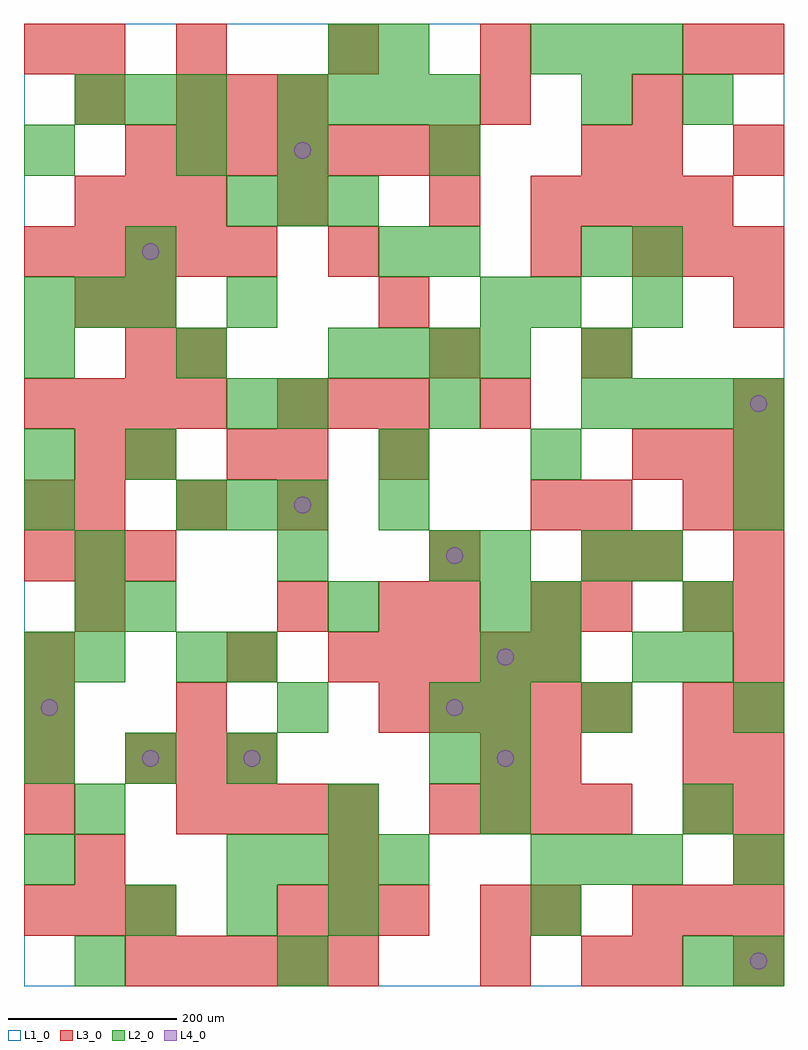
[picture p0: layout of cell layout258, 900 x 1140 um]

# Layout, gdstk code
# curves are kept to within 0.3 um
import gdstk
lib = gdstk.Library(unit=1e-6, precision=1e-09)
def R(c, l, rs):  # rectangles x0, y0, x1, y1
    for r in rs: c.add(gdstk.rectangle(r[:2], r[2:], *l))
def A(c, l, x, y, w, h, nx, ny, dx, dy):  # array of equal rectangles
    R(c, l, [(x+i*dx, y+j*dy, x+i*dx+w, y+j*dy+h) for i in range(nx) for j in range(ny)])
def P(c, l, *ps):  # polygons
    for p in ps: c.add(gdstk.Polygon(p, *l))
L1_0 = (1, 0)
L2_0 = (2, 0)
L3_0 = (3, 0)
L4_0 = (4, 0)

layout258 = lib.new_cell('layout258')
R(layout258, L1_0, [(0,0,900,1140)])
A(layout258, L2_0, 60, 0, 60, 60, 1, 3, 0, 180)
A(layout258, L2_0, 780, 0, 60, 60, 1, 3, 0, 180)
A(layout258, L2_0, 120, 60, 60, 60, 3, 1, 120, 0)
A(layout258, L2_0, 240, 120, 60, 60, 4, 1, 60, 0)
A(layout258, L2_0, 600, 120, 60, 60, 3, 2, 60, 960)
A(layout258, L2_0, 540, 180, 60, 60, 1, 6, 0, 60)
A(layout258, L2_0, 0, 240, 60, 60, 3, 1, 120, 0)
A(layout258, L2_0, 600, 420, 60, 60, 1, 3, 0, 180)
A(layout258, L2_0, 180, 540, 60, 60, 3, 1, 60, 0)
A(layout258, L2_0, 420, 600, 60, 60, 1, 3, 0, 240)
A(layout258, L2_0, 300, 660, 60, 60, 3, 1, 180, 0)
A(layout258, L2_0, 720, 660, 60, 60, 3, 1, 60, 0)
A(layout258, L2_0, 0, 720, 60, 60, 3, 1, 180, 0)
A(layout258, L2_0, 420, 720, 60, 60, 3, 1, 60, 0)
A(layout258, L2_0, 0, 780, 60, 60, 3, 1, 60, 0)
A(layout258, L2_0, 240, 900, 60, 60, 3, 1, 60, 0)
A(layout258, L2_0, 60, 1020, 60, 60, 3, 1, 60, 0)
A(layout258, L2_0, 300, 1020, 60, 60, 4, 1, 60, 0)
R(layout258, L2_0, [(300,0,360,60), (840,0,900,60), (600,60,660,120), (0,120,60,180), (840,120,900,180), (360,180,420,240), (480,240,540,300), (0,300,60,360), (300,300,360,360), (480,300,540,360), (660,300,720,360), (840,300,900,360), (0,360,60,420), (180,360,240,420), (240,360,300,420), (600,360,660,420), (720,360,780,420), (60,420,120,480), (120,420,180,480), (360,420,420,480), (780,420,840,480), (60,480,120,540), (300,480,360,540), (480,480,540,540), (660,480,720,540), (720,480,780,540), (0,540,60,600), (420,540,480,600), (840,540,900,600), (0,600,60,660), (120,600,180,660), (840,600,900,660), (240,660,300,720), (660,720,720,780), (240,780,300,840), (540,780,600,840), (720,780,780,840), (120,840,180,900), (480,840,540,900), (660,840,720,900), (720,840,780,900), (0,960,60,1020), (180,960,240,1020), (300,960,360,1020), (480,960,540,1020), (660,1020,720,1080), (780,1020,840,1080), (360,1080,420,1140)])
A(layout258, L3_0, 120, 0, 60, 60, 5, 1, 60, 0)
A(layout258, L3_0, 720, 0, 60, 60, 1, 3, 0, 480)
A(layout258, L3_0, 0, 60, 60, 60, 3, 2, 60, 420)
A(layout258, L3_0, 300, 60, 60, 60, 3, 2, 60, 600)
A(layout258, L3_0, 600, 60, 60, 60, 1, 3, 0, 180)
A(layout258, L3_0, 720, 60, 60, 60, 3, 2, 60, 540)
A(layout258, L3_0, 840, 120, 60, 60, 1, 8, 0, 60)
A(layout258, L3_0, 0, 180, 60, 60, 1, 4, 0, 60)
A(layout258, L3_0, 180, 180, 60, 60, 4, 1, 60, 0)
A(layout258, L3_0, 480, 180, 60, 60, 4, 1, 60, 0)
A(layout258, L3_0, 780, 180, 60, 60, 1, 3, 0, 60)
A(layout258, L3_0, 120, 240, 60, 60, 3, 1, 60, 0)
A(layout258, L3_0, 420, 300, 60, 60, 5, 1, 60, 0)
A(layout258, L3_0, 360, 360, 60, 60, 5, 1, 60, 0)
A(layout258, L3_0, 60, 420, 60, 60, 1, 3, 0, 180)
A(layout258, L3_0, 420, 420, 60, 60, 1, 3, 0, 180)
A(layout258, L3_0, 660, 420, 60, 60, 1, 3, 0, 60)
A(layout258, L3_0, 60, 540, 60, 60, 3, 1, 120, 0)
A(layout258, L3_0, 0, 660, 60, 60, 4, 1, 60, 0)
A(layout258, L3_0, 0, 840, 60, 60, 5, 1, 60, 0)
A(layout258, L3_0, 720, 840, 60, 60, 3, 1, 60, 0)
A(layout258, L3_0, 60, 900, 60, 60, 3, 1, 60, 0)
A(layout258, L3_0, 600, 900, 60, 60, 4, 1, 60, 0)
A(layout258, L3_0, 120, 960, 60, 60, 7, 1, 60, 0)
A(layout258, L3_0, 180, 1020, 60, 60, 3, 1, 60, 0)
A(layout258, L3_0, 180, 1080, 60, 60, 3, 1, 180, 0)
R(layout258, L3_0, [(540,0,600,60), (660,0,720,60), (840,0,900,60), (540,60,600,120), (60,120,120,180), (360,120,420,180), (540,240,600,300), (180,300,240,360), (240,360,300,420), (300,420,360,480), (480,420,540,480), (780,420,840,480), (480,480,540,540), (0,540,60,600), (600,540,660,600), (780,540,840,600), (120,600,180,660), (240,600,300,660), (300,600,360,660), (540,660,600,720), (840,660,900,720), (120,720,180,780), (180,720,240,780), (480,720,540,780), (660,720,720,780), (120,780,180,840), (840,780,900,840), (360,840,420,900), (600,840,660,900), (300,900,360,960), (480,900,540,960), (660,960,720,1020), (840,960,900,1020), (60,1020,120,1080), (540,1020,600,1080), (720,1020,780,1080), (0,1080,60,1140), (60,1080,120,1140), (780,1080,840,1140), (840,1080,900,1140)])
P(layout258, L4_0, [(40,330),(39.239,333.827),(37.071,337.071),(33.827,339.239),(30,340),(26.173,339.239),(22.929,337.071),(20.761,333.827),(20,330),(20.761,326.173),(22.929,322.929),(26.173,320.761),(30,320),(33.827,320.761),(37.071,322.929),(39.239,326.173)],
  [(160,270),(159.239,273.827),(157.071,277.071),(153.827,279.239),(150,280),(146.173,279.239),(142.929,277.071),(140.761,273.827),(140,270),(140.761,266.173),(142.929,262.929),(146.173,260.761),(150,260),(153.827,260.761),(157.071,262.929),(159.239,266.173)],
  [(160,870),(159.239,873.827),(157.071,877.071),(153.827,879.239),(150,880),(146.173,879.239),(142.929,877.071),(140.761,873.827),(140,870),(140.761,866.173),(142.929,862.929),(146.173,860.761),(150,860),(153.827,860.761),(157.071,862.929),(159.239,866.173)],
  [(280,270),(279.239,273.827),(277.071,277.071),(273.827,279.239),(270,280),(266.173,279.239),(262.929,277.071),(260.761,273.827),(260,270),(260.761,266.173),(262.929,262.929),(266.173,260.761),(270,260),(273.827,260.761),(277.071,262.929),(279.239,266.173)],
  [(340,570),(339.239,573.827),(337.071,577.071),(333.827,579.239),(330,580),(326.173,579.239),(322.929,577.071),(320.761,573.827),(320,570),(320.761,566.173),(322.929,562.929),(326.173,560.761),(330,560),(333.827,560.761),(337.071,562.929),(339.239,566.173)],
  [(340,990),(339.239,993.827),(337.071,997.071),(333.827,999.239),(330,1000),(326.173,999.239),(322.929,997.071),(320.761,993.827),(320,990),(320.761,986.173),(322.929,982.929),(326.173,980.761),(330,980),(333.827,980.761),(337.071,982.929),(339.239,986.173)],
  [(520,330),(519.239,333.827),(517.071,337.071),(513.827,339.239),(510,340),(506.173,339.239),(502.929,337.071),(500.761,333.827),(500,330),(500.761,326.173),(502.929,322.929),(506.173,320.761),(510,320),(513.827,320.761),(517.071,322.929),(519.239,326.173)],
  [(520,510),(519.239,513.827),(517.071,517.071),(513.827,519.239),(510,520),(506.173,519.239),(502.929,517.071),(500.761,513.827),(500,510),(500.761,506.173),(502.929,502.929),(506.173,500.761),(510,500),(513.827,500.761),(517.071,502.929),(519.239,506.173)],
  [(580,270),(579.239,273.827),(577.071,277.071),(573.827,279.239),(570,280),(566.173,279.239),(562.929,277.071),(560.761,273.827),(560,270),(560.761,266.173),(562.929,262.929),(566.173,260.761),(570,260),(573.827,260.761),(577.071,262.929),(579.239,266.173)],
  [(580,390),(579.239,393.827),(577.071,397.071),(573.827,399.239),(570,400),(566.173,399.239),(562.929,397.071),(560.761,393.827),(560,390),(560.761,386.173),(562.929,382.929),(566.173,380.761),(570,380),(573.827,380.761),(577.071,382.929),(579.239,386.173)],
  [(880,30),(879.239,33.827),(877.071,37.071),(873.827,39.239),(870,40),(866.173,39.239),(862.929,37.071),(860.761,33.827),(860,30),(860.761,26.173),(862.929,22.929),(866.173,20.761),(870,20),(873.827,20.761),(877.071,22.929),(879.239,26.173)],
  [(880,690),(879.239,693.827),(877.071,697.071),(873.827,699.239),(870,700),(866.173,699.239),(862.929,697.071),(860.761,693.827),(860,690),(860.761,686.173),(862.929,682.929),(866.173,680.761),(870,680),(873.827,680.761),(877.071,682.929),(879.239,686.173)])

lib.write_gds('layout258.gds')
